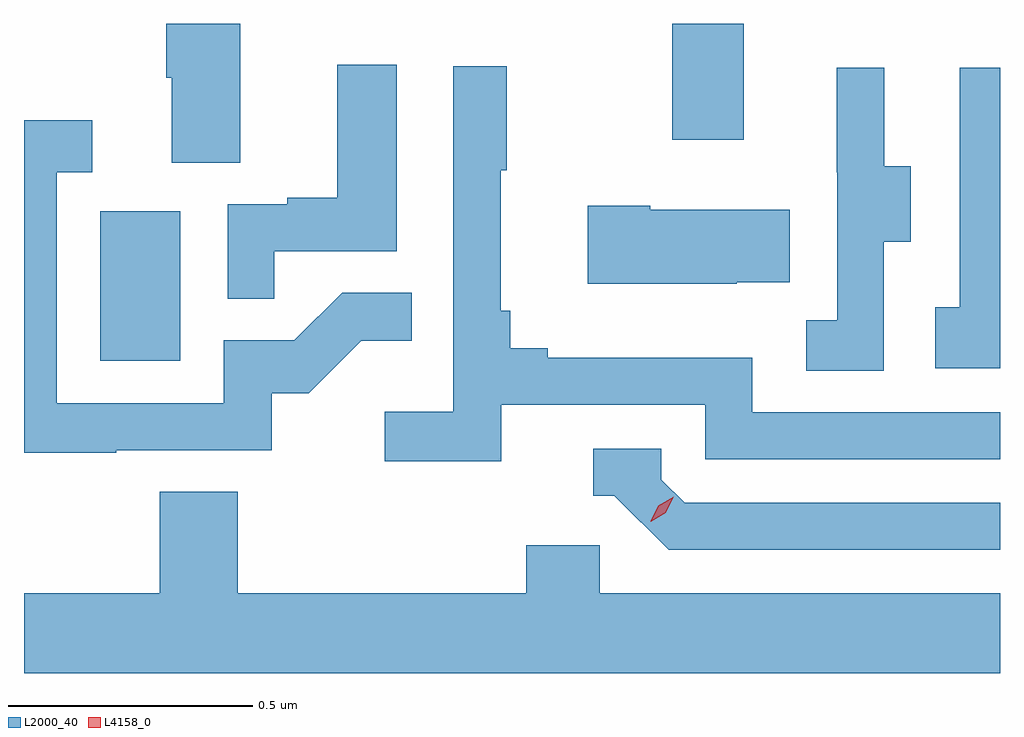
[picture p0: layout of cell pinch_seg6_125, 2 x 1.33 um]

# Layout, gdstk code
import gdstk
lib = gdstk.Library(unit=1e-6, precision=1e-09)
def R(c, l, rs):  # rectangles x0, y0, x1, y1
    for r in rs: c.add(gdstk.rectangle(r[:2], r[2:], *l))
def P(c, l, *ps):  # polygons
    for p in ps: c.add(gdstk.Polygon(p, *l))
L2000_40 = (2000, 40)
L4158_0 = (4158, 0)

pinch_seg6_125 = lib.new_cell('pinch_seg6_125')
R(pinch_seg6_125, L2000_40, [(980.726,935.988,980.89,936.295), (981.898,936.441,982.045,936.679)])
P(pinch_seg6_125, L2000_40, [(981.013,936.679),(980.861,936.679),(980.861,936.568),(980.873,936.568),(980.873,936.394),(981.013,936.394)],
  [(981.083,936.213),(981.334,936.213),(981.334,936.595),(981.212,936.595),(981.212,936.322),(981.109,936.322),(981.109,936.309),(980.988,936.309),(980.988,936.115),(981.083,936.115)],
  [(981.548,935.898),(981.966,935.898),(981.966,935.787),(982.57,935.787),(982.57,935.883),(982.062,935.883),(982.062,935.995),(981.643,935.995),(981.643,936.014),(981.566,936.014),(981.566,936.091),(981.547,936.091),(981.547,936.379),(981.559,936.379),(981.559,936.592),(981.45,936.592),(981.45,935.884),(981.309,935.884),(981.309,935.782),(981.548,935.782)],
  [(982.332,936.232),(982.387,936.232),(982.387,936.387),(982.333,936.387),(982.333,936.589),(982.235,936.589),(982.235,936.375),(982.236,936.375),(982.236,936.071),(982.173,936.071),(982.173,935.968),(982.332,935.968)],
  [(982.57,936.589),(982.488,936.589),(982.488,936.098),(982.437,936.098),(982.437,935.973),(982.57,935.973)],
  [(980.759,935.805),(981.078,935.805),(981.078,935.922),(981.154,935.922),(981.261,936.029),(981.365,936.029),(981.365,936.128),(981.222,936.128),(981.124,936.03),(980.979,936.03),(980.979,935.901),(980.637,935.901),(980.637,936.375),(980.71,936.375),(980.71,936.481),(980.57,936.481),(980.57,935.8),(980.759,935.8)],
  [(982.031,936.149),(982.139,936.149),(982.139,936.298),(981.853,936.298),(981.853,936.306),(981.725,936.306),(981.725,936.146),(982.031,936.146)],
  [(982.57,935.697),(981.924,935.697),(981.876,935.745),(981.876,935.808),(981.737,935.808),(981.737,935.712),(981.78,935.712),(981.891,935.601),(982.57,935.601)],
  [(982.57,935.512),(981.75,935.512),(981.75,935.61),(981.599,935.61),(981.599,935.512),(981.008,935.512),(981.008,935.72),(980.848,935.72),(980.848,935.512),(980.57,935.512),(980.57,935.348),(982.57,935.348)])
P(pinch_seg6_125, L4158_0, [(981.854,935.658),(981.854,935.659),(981.87,935.691),(981.901,935.71),(981.901,935.71),(981.901,935.71),(981.885,935.677),(981.854,935.658)])

lib.write_gds('pinch_seg6_125.gds')
